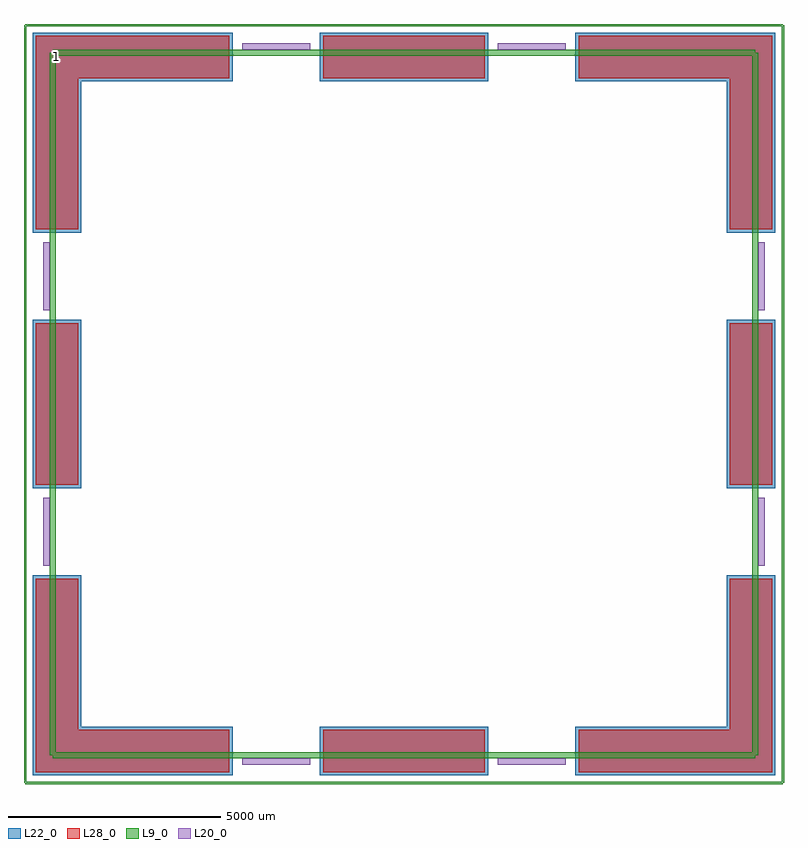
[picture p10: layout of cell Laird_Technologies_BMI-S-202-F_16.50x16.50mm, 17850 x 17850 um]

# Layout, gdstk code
import gdstk
lib = gdstk.Library(unit=1e-6, precision=1e-09)
def R(c, l, rs):  # rectangles x0, y0, x1, y1
    for r in rs: c.add(gdstk.rectangle(r[:2], r[2:], *l))
L9_0 = (9, 0)
L20_0 = (20, 0)
L22_0 = (22, 0)
L28_0 = (28, 0)

laird_technologies_bmi_s = lib.new_cell('Laird_Technologies_BMI-S-202-F_16.50x16.50mm')
R(laird_technologies_bmi_s, L22_0, [(-8725,-8725,-7575,-7575), (-7725,-8725,-4025,-7575), (-1975,-8725,1975,-7575), (4025,-8725,7725,-7575), (7575,-8725,8725,-7575), (-8725,-7725,-7575,-4025), (7575,-7725,8725,-4025), (-8725,-1975,-7575,1975), (7575,-1975,8725,1975), (-8725,4025,-7575,7725), (7575,4025,8725,7725), (-8725,7575,-7575,8725), (-7725,7575,-4025,8725), (-1975,7575,1975,8725), (4025,7575,7725,8725), (7575,7575,8725,8725)])
R(laird_technologies_bmi_s, L28_0, [(-8650,-8650,-7650,-7650), (-7650,-8650,-4100,-7650), (-1900,-8650,1900,-7650), (4100,-8650,7650,-7650), (7650,-8650,8650,-7650), (-8650,-7650,-7650,-4100), (7650,-7650,8650,-4100), (-8650,-1900,-7650,1900), (7650,-1900,8650,1900), (-8650,4100,-7650,7650), (7650,4100,8650,7650), (-8650,7650,-7650,8650), (-7650,7650,-4100,8650), (-1900,7650,1900,8650), (4100,7650,7650,8650), (7650,7650,8650,8650)])
laird_technologies_bmi_s.add(gdstk.FlexPath([(8400,-2200),(8400,-3800)], 149.998, ends="flush", simple_path=True, layer=20, datatype=0))  # L20_0
laird_technologies_bmi_s.add(gdstk.FlexPath([(-8400,-2200),(-8400,-3800)], 149.998, ends="flush", simple_path=True, layer=20, datatype=0))  # L20_0
laird_technologies_bmi_s.add(gdstk.FlexPath([(8400,3800),(8400,2200)], 149.998, ends="flush", simple_path=True, layer=20, datatype=0))  # L20_0
laird_technologies_bmi_s.add(gdstk.FlexPath([(-8400,3800),(-8400,2200)], 149.998, ends="flush", simple_path=True, layer=20, datatype=0))  # L20_0
laird_technologies_bmi_s.add(gdstk.FlexPath([(2200,-8400),(3800,-8400)], 149.998, ends="flush", simple_path=True, layer=20, datatype=0))  # L20_0
laird_technologies_bmi_s.add(gdstk.FlexPath([(2200,8400),(3800,8400)], 149.998, ends="flush", simple_path=True, layer=20, datatype=0))  # L20_0
laird_technologies_bmi_s.add(gdstk.FlexPath([(-3800,-8400),(-2200,-8400)], 149.998, ends="flush", simple_path=True, layer=20, datatype=0))  # L20_0
laird_technologies_bmi_s.add(gdstk.FlexPath([(-3800,8400),(-2200,8400)], 149.998, ends="flush", simple_path=True, layer=20, datatype=0))  # L20_0
laird_technologies_bmi_s.add(gdstk.FlexPath([(8250,8250),(-8250,8250)], 149.998, ends="flush", simple_path=True, layer=9, datatype=0))  # L9_0
laird_technologies_bmi_s.add(gdstk.FlexPath([(8250,-8250),(8250,8250)], 149.998, ends="flush", simple_path=True, layer=9, datatype=0))  # L9_0
laird_technologies_bmi_s.add(gdstk.FlexPath([(-8250,-8250),(8250,-8250)], 149.998, ends="flush", simple_path=True, layer=9, datatype=0))  # L9_0
laird_technologies_bmi_s.add(gdstk.FlexPath([(-8250,8250),(-8250,-8250)], 149.998, ends="flush", simple_path=True, layer=9, datatype=0))  # L9_0
laird_technologies_bmi_s.add(gdstk.FlexPath([(8900,8900),(-8900,8900)], 50, ends="flush", simple_path=True, layer=9, datatype=0))  # L9_0
laird_technologies_bmi_s.add(gdstk.FlexPath([(8900,-8900),(8900,8900)], 50, ends="flush", simple_path=True, layer=9, datatype=0))  # L9_0
laird_technologies_bmi_s.add(gdstk.FlexPath([(-8900,-8900),(8900,-8900)], 50, ends="flush", simple_path=True, layer=9, datatype=0))  # L9_0
laird_technologies_bmi_s.add(gdstk.FlexPath([(-8900,8900),(-8900,-8900)], 50, ends="flush", simple_path=True, layer=9, datatype=0))  # L9_0
laird_technologies_bmi_s.add(gdstk.Label('1', (-8150,8150), layer=28, texttype=0))
laird_technologies_bmi_s.add(gdstk.Label('type', (0,-9650), layer=9, texttype=0))
laird_technologies_bmi_s.add(gdstk.Label('devicename', (0,9650), layer=9, texttype=0))

lib.write_gds('Laird_Technologies_BMI-S-202-F_16.50x16.50mm.gds')
